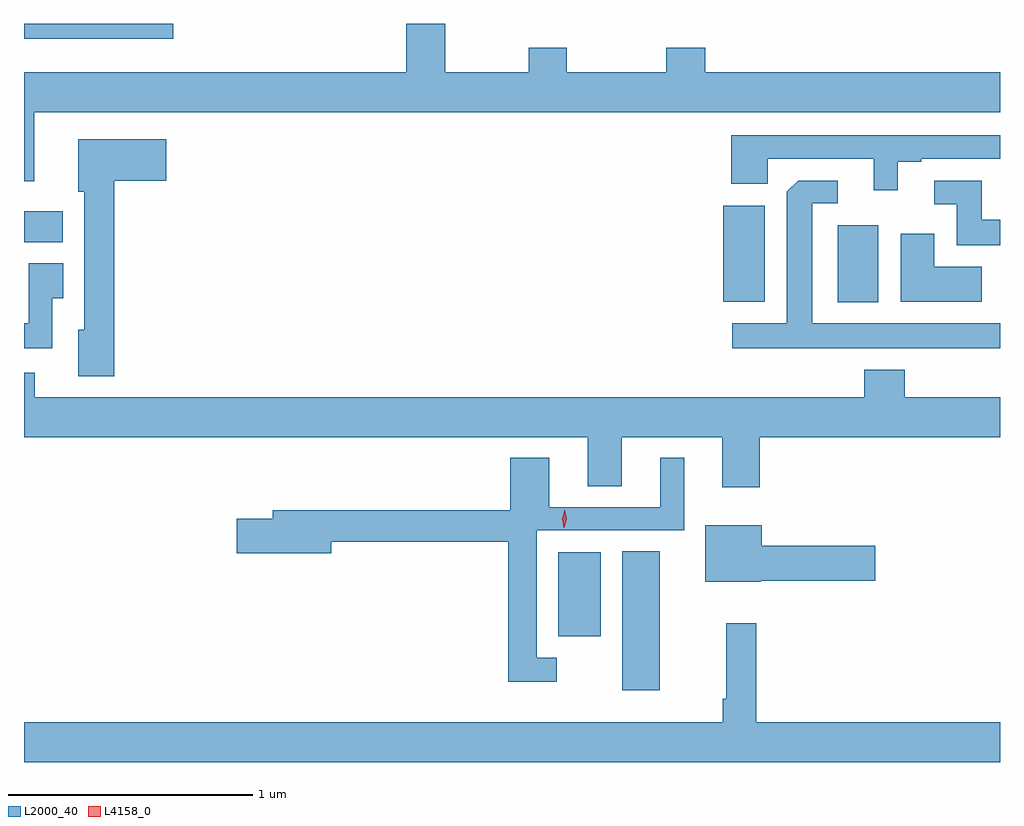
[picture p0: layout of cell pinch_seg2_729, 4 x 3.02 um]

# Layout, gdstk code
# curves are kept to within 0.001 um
import gdstk
lib = gdstk.Library(unit=1e-6, precision=1e-09)
def R(c, l, rs):  # rectangles x0, y0, x1, y1
    for r in rs: c.add(gdstk.rectangle(r[:2], r[2:], *l))
def P(c, l, *ps):  # polygons
    for p in ps: c.add(gdstk.Polygon(p, *l))
L2000_40 = (2000, 40)
L4158_0 = (4158, 0)

pinch_seg2_729 = lib.new_cell('pinch_seg2_729')
R(pinch_seg2_729, L2000_40, [(865.106,631.947,865.261,632.516), (864.845,632.168,865.018,632.512), (865.991,633.536,866.155,633.853), (865.52,633.539,865.69,633.931), (862.655,633.782,862.813,633.91), (862.655,634.616,863.266,634.677)])
P(pinch_seg2_729, L2000_40, [(862.697,634.316),(866.655,634.316),(866.655,634.48),(865.448,634.48),(865.448,634.579),(865.288,634.579),(865.288,634.48),(864.879,634.48),(864.879,634.579),(864.724,634.579),(864.724,634.48),(864.381,634.48),(864.381,634.677),(864.221,634.677),(864.221,634.48),(862.655,634.48),(862.655,634.032),(862.697,634.032)],
  [(866.236,634.113),(866.332,634.113),(866.332,634.125),(866.655,634.125),(866.655,634.221),(865.553,634.221),(865.553,634.022),(865.704,634.022),(865.704,634.125),(866.138,634.125),(866.138,633.996),(866.236,633.996)],
  [(863.024,634.034),(863.239,634.034),(863.239,634.204),(862.877,634.204),(862.877,633.99),(862.901,633.99),(862.901,633.423),(862.877,633.423),(862.877,633.233),(863.024,633.233)],
  [(866.655,633.451),(865.885,633.451),(865.885,633.942),(865.99,633.942),(865.99,634.035),(865.828,634.035),(865.782,633.989),(865.781,633.451),(865.557,633.451),(865.557,633.347),(866.655,633.347)],
  [(866.655,633.874),(866.581,633.874),(866.581,634.035),(866.385,634.035),(866.385,633.939),(866.477,633.939),(866.477,633.77),(866.655,633.77)],
  [(866.581,633.682),(866.386,633.682),(866.386,633.817),(866.249,633.817),(866.249,633.539),(866.581,633.539)],
  [(862.771,633.553),(862.816,633.553),(862.816,633.697),(862.674,633.697),(862.674,633.451),(862.655,633.451),(862.655,633.347),(862.771,633.347)],
  [(865.67,632.984),(866.655,632.984),(866.655,633.148),(866.264,633.148),(866.264,633.259),(866.099,633.259),(866.099,633.148),(862.699,633.148),(862.699,633.247),(862.655,633.247),(862.655,632.984),(864.965,632.984),(864.965,632.782),(865.105,632.782),(865.105,632.984),(865.517,632.984),(865.517,632.778),(865.67,632.778)],
  [(864.838,632.079),(864.756,632.079),(864.756,632.601),(865.36,632.601),(865.36,632.899),(865.262,632.899),(865.262,632.697),(864.808,632.697),(864.808,632.899),(864.647,632.899),(864.647,632.683),(863.675,632.683),(863.675,632.649),(863.526,632.649),(863.526,632.507),(863.914,632.507),(863.914,632.554),(864.64,632.554),(864.64,631.982),(864.838,631.982)],
  [(865.674,632.396),(866.143,632.396),(866.143,632.538),(865.678,632.538),(865.678,632.623),(865.448,632.623),(865.448,632.39),(865.674,632.39)],
  [(866.655,631.816),(865.655,631.816),(865.655,632.221),(865.534,632.221),(865.534,631.912),(865.519,631.912),(865.519,631.816),(862.655,631.816),(862.655,631.652),(866.655,631.652)])
P(pinch_seg2_729, L4158_0, [(864.868,632.613),(864.868,632.613),(864.86,632.65),(864.872,632.685),(864.872,632.685),(864.872,632.685),(864.88,632.649),(864.869,632.613)])

lib.write_gds('pinch_seg2_729.gds')
